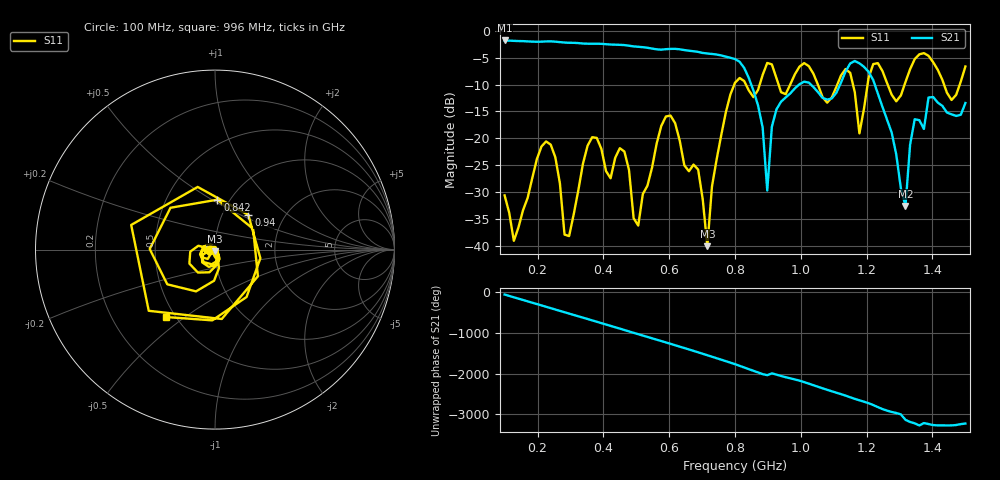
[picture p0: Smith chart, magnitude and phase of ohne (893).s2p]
! NanoVNA-App
! Date: 2025-09-25 14:27:45
! Start: 100MHz Stop: 1,5GHz Points: 101
! S-Parameter data: F S11 S21 S12 S22
# Hz S RI R 50
!  Frequency  S11_Real  S11_Imag  S21_Real  S21_Imag  S12_Real  S12_Imag  S22_Real  S22_Imag
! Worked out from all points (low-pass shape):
!   101 points, 100 MHz to 1.5 GHz, reference 50 ohm
!   highest |S21| = -1.79 dB at 100 MHz (marker M1); lowest = -32.6 dB at 1.318 GHz (marker M2)
!   |S21| within 3 dB of the highest: start of sweep to 771.3 MHz
!   lowest |S11| = -40.1 dB at 716 MHz (marker M3), VSWR 1.02, Z = 49.8 - j0.96 ohm
!   |S11| at or under -10 dB: start of sweep to 797.9 MHz; 833.1 MHz to 875 MHz (41.9 MHz wide, 4.91 % of centre); 1.052 GHz to 1.111 GHz (59.05 MHz wide, 5.46 % of centre) (the widest 3 of 7)
!   S12 and S22 are empty: the file has one direction only
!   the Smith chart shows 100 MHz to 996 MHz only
!   S11 on the Smith chart (normalised r, x): 100 MHz: 0.94, -0.01; 842 MHz: 0.88, +0.53; 940 MHz: 1.32, +0.55; 996 MHz: 0.45, -0.43
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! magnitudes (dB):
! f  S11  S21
! 100 MHz  -30.6  -1.8
! 128 MHz  -39.1  -1.9
! 226 MHz  -20.6  -2.0
! 296 MHz  -38.2  -2.2
! 338 MHz  -24.8  -2.4
! 464 MHz  -22.5  -2.7
! 506 MHz  -36.3  -3.0
! 576 MHz  -17.7  -3.5
! 688 MHz  -25.8  -3.9
! 716 MHz  -40.1  -4.2
! 800 MHz  -9.7  -5.3
! 842 MHz  -11.1  -8.8
! 898 MHz  -6.0  -29.7
! 940 MHz  -11.4  -13.2
! 996 MHz  -6.7  -9.9
! 1.038 GHz  -8.0  -10.4
! 1.178 GHz  -19.1  -6.0
! 1.22 GHz  -6.2  -9.2
! 1.276 GHz  -11.9  -18.9
! 1.318 GHz  -9.5  -32.6
! 1.346 GHz  -5.3  -16.5
! 1.5 GHz  -6.6  -13.5
